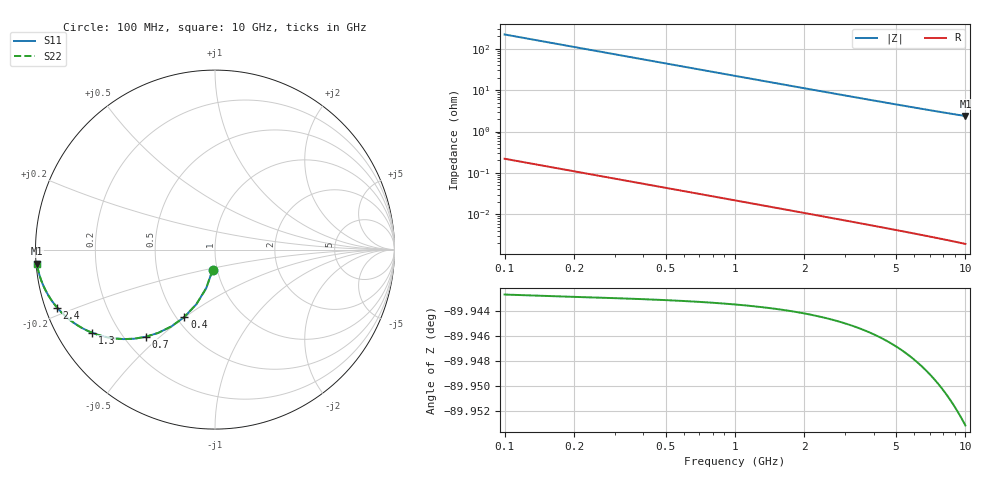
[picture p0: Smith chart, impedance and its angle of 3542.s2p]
# Hz S RI R 50.00
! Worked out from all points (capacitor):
!   100 points, 100 MHz to 10 GHz, reference 50 ohm
!   read as one part in shunt: C = 7.22 pF near 100 MHz
!   lowest |Z| = 2.37 ohm at 10 GHz (marker M1)
!   S11 on the Smith chart (normalised r, x): 100 MHz: 0.95, -0.22; 400 MHz: 0.55, -0.50; 700 MHz: 0.28, -0.45; 1.3 GHz: 0.10, -0.30; 2.4 GHz: 0.03, -0.18; 10 GHz: 0.00, -0.04
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1e8  -0.0128 -0.1119  0.9872 -0.112  0.9872 -0.112  -0.0128 -0.1119
2e8  -0.0491 -0.2154  0.9509 -0.2157  0.9509 -0.2157  -0.0491 -0.2154
3e8  -0.1039 -0.3044  0.8961 -0.3049  0.8961 -0.3049  -0.1039 -0.3044
4e8  -0.1708 -0.3755  0.8292 -0.3761  0.8292 -0.3761  -0.1708 -0.3755
5e8  -0.2433 -0.4282  0.7567 -0.4289  0.7567 -0.4289  -0.2433 -0.4282
6e8  -0.3163 -0.4641  0.6837 -0.465  0.6837 -0.465  -0.3163 -0.4641
7e8  -0.3862 -0.4859  0.6138 -0.4869  0.6138 -0.4869  -0.3862 -0.4859
8e8  -0.4509 -0.4965  0.549 -0.4977  0.549 -0.4977  -0.4509 -0.4965
1e9  -0.5617 -0.495  0.4382 -0.4964  0.4382 -0.4964  -0.5617 -0.495
1.1e9  -0.6078 -0.4869  0.3921 -0.4885  0.3921 -0.4885  -0.6078 -0.4869
1.3e9  -0.6838 -0.4636  0.3162 -0.4654  0.3162 -0.4654  -0.6838 -0.4636
1.5e9  -0.742 -0.436  0.258 -0.4381  0.258 -0.4381  -0.742 -0.436
1.8e9  -0.8052 -0.3942  0.1947 -0.3968  0.1947 -0.3968  -0.8052 -0.3942
2.1e9  -0.8489 -0.3561  0.1511 -0.3591  0.1511 -0.3591  -0.8489 -0.3561
2.4e9  -0.8799 -0.3228  0.12 -0.3262  0.12 -0.3262  -0.8799 -0.3228
2.9e9  -0.9144 -0.2772  0.0856 -0.2814  0.0856 -0.2814  -0.9144 -0.2772
3.4e9  -0.9361 -0.2415  0.0638 -0.2464  0.0638 -0.2464  -0.9361 -0.2415
4.2e9  -0.9571 -0.1989  0.0428 -0.205  0.0428 -0.205  -0.9571 -0.1989
5.1e9  -0.9705 -0.1648  0.0294 -0.1723  0.0294 -0.1723  -0.9705 -0.1648
6.7e9  -0.9827 -0.1246  0.0172 -0.1345  0.0172 -0.1345  -0.9827 -0.1246
8.4e9  -0.989 -0.0971  0.0109 -0.1097  0.0109 -0.1097  -0.989 -0.0971
1e10  -0.9923 -0.079  0.00757 -0.0941  0.00757 -0.0941  -0.9923 -0.079
